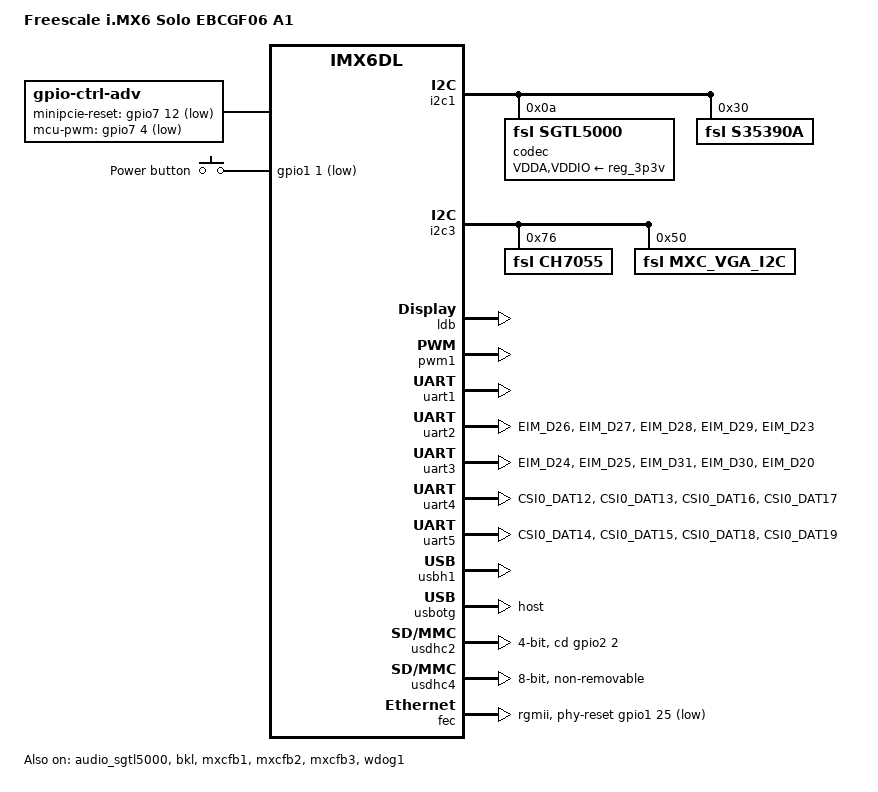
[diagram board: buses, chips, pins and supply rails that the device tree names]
/*
 * Copyright 2012 Freescale Semiconductor, Inc.
 * Copyright 2011 Linaro Ltd.
 *
 * The code contained herein is licensed under the GNU General Public
 * License. You may obtain a copy of the GNU General Public License
 * Version 2 or later at the following locations:
 *
 * http://www.opensource.org/licenses/gpl-license.html
 * http://www.gnu.org/copyleft/gpl.html
 */

/dts-v1/;

#include "imx6dl.dtsi"
#include "imx6qdl-advantech.dtsi"

/ {
	model = "Freescale i.MX6 Solo EBCGF06 A1";
	compatible = "fsl,imx6dl-sabresd", "fsl,imx6dl";

	aliases {
		i2c3; /* Disabled i2c3 in imx6dl.dtsi */
	};

	board {
		compatible = "proc-board";
		board-type = "EBC-GF06 A1";
		board-cpu = "DualLiteSolo";
	};

	gpio-ctrl-adv {
		compatible = "gpio-ctrl-adv";
		minipcie-reset-gpio = <&gpio7 12 1>;
		timing-interval = <10>;
		mcu-pwm-gpio = <&gpio7 4 1>;
		status = "okay";
	};

	gpio-keys {
		compatible = "gpio-keys";
		#address-cells = <1>;
		#size-cells = <0>;
		pinctrl-names = "default";
		pinctrl-0 = <&pinctrl_gpio_power_1>;
		power@1 {
			label = "Power button";
			gpios = <&gpio1 1 1>; /* GPIO_ACTIVE_LOW:1 */
			linux,input-type = <1>;	/* EV_PWR */
			linux,code = <116>;		/* KEY_POWER */
			debounce_interval = <1>;
        };
	};
};

&audio_sgtl5000 {
	audio-codec = <&codec>;
	status = "okay";
};

&bkl {
	lvds-bkl-enable = <&gpio6 9 0>;
	lvds-vcc-enable = <&gpio6 7 0>;

	bklt-en-delay-time = <2000>;
	pwms = <&pwm1 0 5000000>;
	status = "okay";
};

&ecspi1 {
	cs-gpios = <&gpio3 19 0>;
};

&can1 {
	pinctrl-names = "default";
	pinctrl-0 = <&pinctrl_flexcan1_1>;
	status = "disabled";
};

&i2c1 {
	codec: sgtl5000@0a {
		compatible = "fsl,sgtl5000";
		reg = <0x0a>;
		clocks = <&clks 201>;
		VDDA-supply = <&reg_3p3v>;
		VDDIO-supply = <&reg_3p3v>;
		mclk = <16000000>;
		mclk_source = <0>;
		volume-limite = <0x58>;
	};

	s35390a@30 {
		compatible = "fsl,s35390a";
		reg = <0x30>;
	};
};

&i2c2 {
	status = "disabled";
};

&i2c3 {
	ch7055@76 {
		compatible = "fsl,ch7055";
		reg = <0x76>;
	};

	mxc_vga_i2c@50 {
		compatible = "fsl,mxc_vga_i2c";
		reg = <0x50>;
	};
};

&iomuxc {
	pinctrl-names = "default";
	pinctrl-0 = <&pinctrl_hog_1 &pinctrl_hog_2 &pinctrl_minipcie_1>;

	gpio-keys {
		pinctrl_gpio_power_1: gpio_power1grp-1 {
			fsl,pins = <
				MX6QDL_PAD_GPIO_1__GPIO1_IO01          0x80000000      /* Power Button */
			>;
		};
	};

	pcie {
		pinctrl_minipcie_1: minipcie1grp-1 {
			fsl,pins = <
				MX6QDL_PAD_KEY_COL4__GPIO4_IO14		0x0001B0B0	/* PCIE_DIS_B */
				MX6QDL_PAD_CSI0_DATA_EN__GPIO5_IO20	0x0001B0B0	/* PCIE_WAKE */
				MX6QDL_PAD_GPIO_17__GPIO7_IO12		0x80000000	/* PCIE_RST */
			>;
		};
	};
	
	hog {
		/* special GPIO */
		pinctrl_hog_1: hoggrp-1 {
			fsl,pins = <
				MX6QDL_PAD_SD3_DAT0__GPIO7_IO04	0x80000000	/* C8051 CAN2_TX*/
				MX6QDL_PAD_SD3_DAT1__GPIO7_IO05	0x80000000	/* C8051 CAN2_RX*/
				MX6QDL_PAD_GPIO_0__CCM_CLKO1   	0x130b0     /* AUDIO CLK */
			>;
		};
		
		/* Common GPIO */
		pinctrl_hog_2: hoggrp-2 {
			fsl,pins = <
				MX6QDL_PAD_KEY_COL2__GPIO4_IO10		0x80000000	/* GPIO0 */
				MX6QDL_PAD_NANDF_CS0__GPIO6_IO11	0x80000000	/* GPIO1 */
				MX6QDL_PAD_NANDF_CS1__GPIO6_IO14	0x80000000	/* GPIO2 */
				MX6QDL_PAD_NANDF_CS2__GPIO6_IO15	0x80000000	/* GPIO3 */
				MX6QDL_PAD_NANDF_CS3__GPIO6_IO16	0x80000000	/* GPIO4 */
				MX6QDL_PAD_EIM_OE__GPIO2_IO25       0x80000000  /* GPIO5 */
				MX6QDL_PAD_EIM_CS0__GPIO2_IO23      0x80000000  /* GPIO6 */
				MX6QDL_PAD_EIM_CS1__GPIO2_IO24      0x80000000  /* GPIO7 */
				MX6QDL_PAD_EIM_A25__GPIO5_IO02      0x80000000  /* GPIO8 */
				MX6QDL_PAD_GPIO_2__GPIO1_IO02		0x80000000	/* GPIO9 */
				MX6QDL_PAD_GPIO_9__GPIO1_IO09		0x80000000	/* GPIO10 */
				MX6QDL_PAD_GPIO_18__GPIO7_IO13		0x80000000	/* GPIO11 */
			>;
		};
	};

	lvds {
		pinctrl_lvds_bkl_1: lvds_bklgrp-1 {
			fsl,pins = <
				MX6QDL_PAD_NANDF_WP_B__GPIO6_IO09	0x170b0		/* LCD_BKLT_EN */
			>;
		};
		pinctrl_lvds_vcc_1: lvds_vccgrp-1 {
			fsl,pins = <
				MX6QDL_PAD_NANDF_CLE__GPIO6_IO07	0x170b0		/* LCD_VDD_EN */
			>;
		};
	};

	spi1 {
		pinctrl_ecspi1_cs_0: ecspi1_cs_grp-0 {
			fsl,pins = <
				MX6QDL_PAD_EIM_D19__GPIO3_IO19		0x80000000	/* ECSPI1_CS1 */
			>;
		};
	};

	uart2 {
        pinctrl_uart2_3: uart2grp-3 {
	        fsl,pins = <
				MX6QDL_PAD_EIM_D26__UART2_TX_DATA       0x1b0b1
				MX6QDL_PAD_EIM_D27__UART2_RX_DATA       0x1b0b1
				MX6QDL_PAD_EIM_D28__UART2_CTS_B		0x1b0b1
				MX6QDL_PAD_EIM_D29__UART2_RTS_B		0x1b0b1
				MX6QDL_PAD_EIM_D23__GPIO3_IO23		0x80000000    /* RS485 or RS232 */
	        >;
        };
    };

	uart3 {
		pinctrl_uart3_2: uart3grp-2 {
			fsl,pins = <
				MX6QDL_PAD_EIM_D24__UART3_TX_DATA	0x1b0b1
				MX6QDL_PAD_EIM_D25__UART3_RX_DATA	0x1b0b1
				MX6QDL_PAD_EIM_D31__UART3_RTS_B     0x1b0b1 
				MX6QDL_PAD_EIM_D30__UART3_CTS_B     0x1b0b1 
				MX6QDL_PAD_EIM_D20__GPIO3_IO20		0x80000000    /* RS485 or RS232 */
			>;
		};
	};

	uart4 {
        pinctrl_uart4_2: uart4grp-2 {
	        fsl,pins = <
				MX6QDL_PAD_CSI0_DAT12__UART4_TX_DATA    0x1b0b1
				MX6QDL_PAD_CSI0_DAT13__UART4_RX_DATA    0x1b0b1
				MX6QDL_PAD_CSI0_DAT16__UART4_RTS_B	0x1b0b1
				MX6QDL_PAD_CSI0_DAT17__UART4_CTS_B	0x1b0b1
	        >;
        };
    };

    uart5 {
        pinctrl_uart5_2: uart5grp-2 {
	        fsl,pins = <
				MX6QDL_PAD_CSI0_DAT14__UART5_TX_DATA    0x1b0b1
				MX6QDL_PAD_CSI0_DAT15__UART5_RX_DATA    0x1b0b1
				MX6QDL_PAD_CSI0_DAT18__UART5_RTS_B	0x1b0b1
				MX6QDL_PAD_CSI0_DAT19__UART5_CTS_B	0x1b0b1
	        >;
        };
    };
};

&ldb {
	status = "okay";
//	split-mode;

	lvds-channel@0 {
		crtc = "ipu1-di1";
		/*status ="disabled";*/
		display-timings {
			/*native-mode = <&timing01>;*/
			native-mode = <&timing50>;
			timing50: g215hvnnn {
				clock-frequency = <65000000>;
				hactive = <1024>; //hc 320
				hback-porch = <300>;
				hfront-porch = <15>;
				hsync-len = <5>;

				vactive = <600>; //25
				vback-porch = <15>;
				vfront-porch = <5>;
				vsync-len = <5>;
			};
		};
	};

	lvds-channel@1 {
		crtc = "ipu1-di0";
		status ="disabled";
		/*display-timings {*/
		/*native-mode = <&timing50>;*/

		/*timing60: g215hvnn {*/
			/*clock-frequency = <50400000>;*/
			/*hactive = <1024>;*/
			/*vactive = <600>;*/
			/*hback-porch = <250>;*/
			/*hfront-porch = <20>;*/
			/*vback-porch = <5>;*/
			/*vfront-porch = <15>;*/
			/*hsync-len = <5>;*/
			/*vsync-len = <5>;*/
			/*};*/
		/*};*/
	};
};

&mxcfb1{
	status = "okay";
};

&mxcfb2{
	compatible = "fsl,mxc_sdc_fb";
	disp_dev = "lcd";
	interface_pix_fmt = "RGB24";
	mode_str ="1920x1080M@60";
	default_bpp = <16>;
	int_clk = <0>;
	late_init = <0>;
	status = "okay";
};

&mxcfb3{
	compatible = "fsl,mxc_sdc_fb";
	disp_dev = "ldb";
	interface_pix_fmt = "LVDS666";
	mode_str ="1024x600M@60";
	default_bpp = <16>;
	int_clk = <0>;
	late_init = <0>;
	status = "okay";
};

&audio_hdmi {
	status = "disabled";
};

&hdmi_audio {
	status = "disabled";
};

&hdmi_cec {
	status = "disabled";
};

&hdmi_video {
	status = "disabled";
};

&hdmi_core {
	status = "disabled";
};

&pwm1 {
	pinctrl-names = "default";
	pinctrl-0 = <&pinctrl_pwm1_1>;
	status = "okay";
};

&uart1 {
	pinctrl-names = "default";
	pinctrl-0 = <&pinctrl_uart1_1>;
	status = "okay";
};

&uart2 {
	pinctrl-names = "default";
	pinctrl-0 = <&pinctrl_uart2_3>;
	fsl,uart-has-rtscts;
	uart-sel-gpio = <&gpio3 23 1>;
	status = "okay";
};

&uart3 {
	pinctrl-names = "default";
	pinctrl-0 = <&pinctrl_uart3_2>;
	fsl,uart-has-rtscts;
	uart-sel-gpio = <&gpio3 20 1>;
	status = "okay";
};

&uart4 {
    pinctrl-names = "default";
    pinctrl-0 = <&pinctrl_uart4_2>;
    fsl,uart-has-rtscts;
    status = "okay";
};

&uart5 {
    pinctrl-names = "default";
    pinctrl-0 = <&pinctrl_uart5_2>;
    fsl,uart-has-rtscts;
    status = "okay";
};

&usbh1 {
	status = "okay";
};

&usbotg {
	dr_mode = "host";
	status = "okay";
};

&usdhc2 {
	pinctrl-names = "default";
	pinctrl-0 = <&pinctrl_usdhc2_2>;
	bus-width = <4>;
	cd-gpios = <&gpio2 2 0>;
	status = "okay";
};

&usdhc4 {
	pinctrl-names = "default";
	pinctrl-0 = <&pinctrl_usdhc4_1>;
	bus-width = <8>;
	non-removable;
	no-1-8-v;
	status = "okay";
};

&fec {
	pinctrl-names = "default";
	pinctrl-0 = <&pinctrl_enet1_1 &pinctrl_enet1_rst_1>;
	phy-mode = "rgmii";
	phy-reset-gpios = <&gpio1 25 1>; /* GPIO_ACTIVE_LOW 1 */
	status = "okay";
};

&v4l2_output {
	status = "disabled";
};

&wdog1 {
	status = "okay";
};
